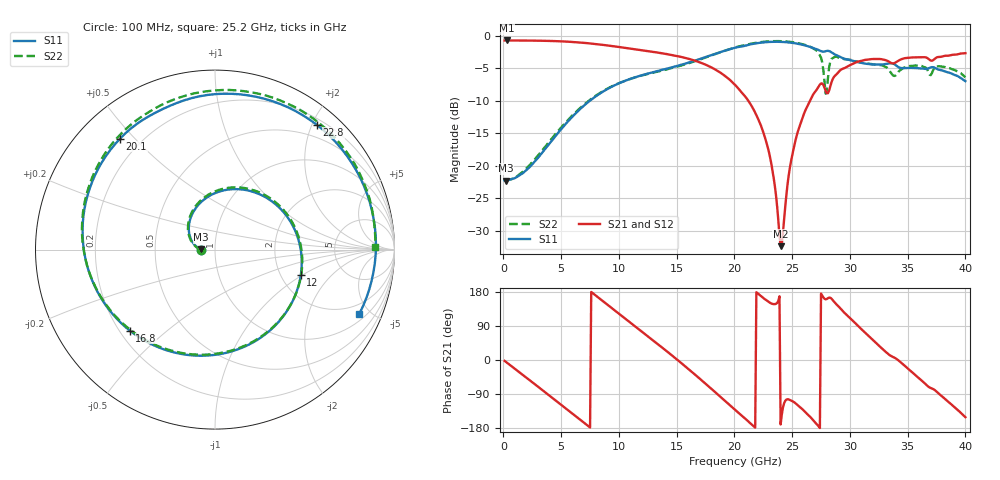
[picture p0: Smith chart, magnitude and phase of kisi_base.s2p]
! BV_vna_rf_hblb1: LibreVNA RF_HBLB_PORT1, via F.Cu → In2.Cu with a 0.87 mm stub to B.Cu (CPWG feeds)
! stackup: VNA from the board file and its kisi.json
! ports: 1 in, 2 out
! kisi-fdtd, conformal, dfine 0.035 mm, 1529280 cells
# Hz S RI R 50
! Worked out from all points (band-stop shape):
!   400 points, 100 MHz to 40 GHz, reference 50 ohm
!   highest |S21| = -0.69 dB at 300 MHz (marker M1); lowest = -32.4 dB at 24 GHz (marker M2)
!   |S21| within 3 dB of the highest: start of sweep to 16.36 GHz; 37.23 GHz to end of sweep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
!   lowest |S11| = -22.3 dB at 200 MHz (marker M3), VSWR 1.17, Z = 42.9 + j0.0577 ohm
!   |S11| at or under -10 dB: start of sweep to 7.468 GHz
!   |S22| runs from -22.3 to -0.8 dB; largest |S21 - S12| = 0.0064
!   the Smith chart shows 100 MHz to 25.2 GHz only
!   S11 on the Smith chart (normalised r, x): 100 MHz: 0.86, +0.00; 12 GHz: 2.57, -0.97; 16.8 GHz: 0.24, -0.38; 20.1 GHz: 0.12, +0.45; 22.8 GHz: 0.29, +2.08; 25.2 GHz: 1.36, -4.31
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1e8  -0.0769 0.000398  0.9221 -0.0373  0.9224 -0.0376  -0.0769 0.000298
2e8  -0.0768 0.000669  0.9203 -0.075  0.9203 -0.0755  -0.0768 0.000302
3e8  -0.0769 0.000796  0.9169 -0.1131  0.9164 -0.1134  -0.077 0.00016
3.7e9  -0.129 0.0478  0.0446 -0.9165  0.0443 -0.9163  -0.1339 0.0502
6.8e9  -0.0676 0.2735  -0.8408 -0.2842  -0.8411 -0.2843  -0.077 0.2763
9.7e9  0.331 0.258  -0.5273 0.6403  -0.5271 0.6407  0.3137 0.2821
1.2e10  0.4781 -0.1418  0.2024 0.7497  0.2023 0.7496  0.4844 -0.1071
1.34e10  0.3442 -0.4139  0.5589 0.491  0.5586 0.491  0.3618 -0.3911
1.68e10  -0.4755 -0.4508  0.4567 -0.4423  0.4566 -0.442  -0.4669 -0.451
2.01e10  -0.5295 0.618  -0.283 -0.3048  -0.2831 -0.3044  -0.5956 0.5608
2.28e10  0.5685 0.6942  -0.1361 0.058  -0.136 0.0583  0.3639 0.8308
2.4e10  0.8745 0.2169  -0.0236 -0.00414  -0.0238 -0.00354  0.7536 0.5156
2.52e10  0.8047 -0.3566  -0.0544 -0.1344  -0.0555 -0.1346  0.8912 0.0132
2.67e10  0.2367 -0.7803  -0.3053 -0.1454  -0.3052 -0.1431  0.5718 -0.5775
2.75e10  -0.1232 -0.7528  -0.4293 0.0347  -0.4257 0.0305  0.1507 -0.6631
2.79e10  -0.2803 -0.7102  -0.3543 0.1281  -0.3507 0.1334  0.0783 -0.3511
2.82e10  -0.4217 -0.6386  -0.3665 0.1003  -0.3709 0.0958  0.3051 -0.4849
2.97e10  -0.6598 -0.0436  -0.2848 0.4999  -0.2839 0.501  -0.3022 -0.5867
3.16e10  -0.2973 0.5302  0.2913 0.59  0.2912 0.5906  -0.6026 -0.1031
3.34e10  0.2975 0.5383  0.614 0.1508  0.6138 0.1508  -0.4358 0.3279
3.67e10  0.4568 -0.3224  0.2548 -0.6262  0.2563 -0.6282  0.0731 0.5464
4e10  -0.3251 -0.3093  -0.6442 -0.358  -0.6463 -0.3577  0.4476 0.1751
